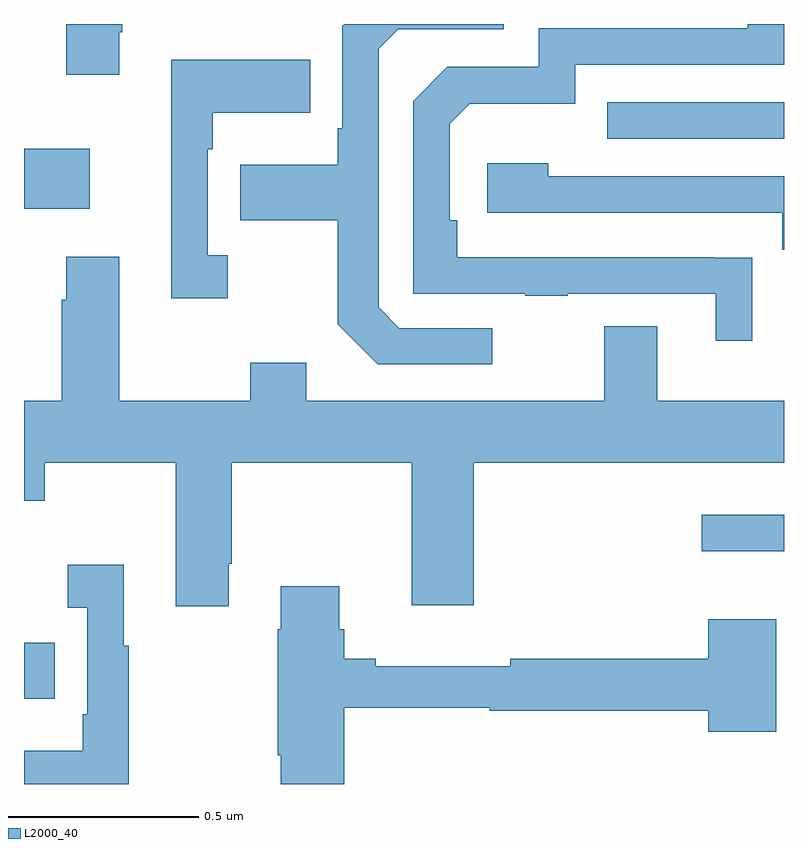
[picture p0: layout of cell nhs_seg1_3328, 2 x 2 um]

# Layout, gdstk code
import gdstk
lib = gdstk.Library(unit=1e-6, precision=1e-09)
def R(c, l, rs):  # rectangles x0, y0, x1, y1
    for r in rs: c.add(gdstk.rectangle(r[:2], r[2:], *l))
def P(c, l, *ps):  # polygons
    for p in ps: c.add(gdstk.Polygon(p, *l))
L2000_40 = (2000, 40)

nhs_seg1_3328 = lib.new_cell('nhs_seg1_3328')
R(nhs_seg1_3328, L2000_40, [(152,572.423,152.081,572.571), (153.783,572.811,154,572.908), (152,573.713,152.173,573.871), (153.535,573.897,154,573.993)])
P(nhs_seg1_3328, L2000_40, [(152.251,574.177),(152.259,574.177),(152.259,574.199),(152.111,574.199),(152.111,574.065),(152.251,574.065)],
  [(153.232,573.399),(152.988,573.399),(152.934,573.453),(152.934,574.134),(152.985,574.185),(153.262,574.185),(153.262,574.199),(152.843,574.199),(152.838,574.194),(152.838,573.925),(152.826,573.925),(152.826,573.829),(152.569,573.829),(152.569,573.682),(152.826,573.682),(152.826,573.409),(152.931,573.303),(153.232,573.303)],
  [(153.917,573.584),(153.815,573.584),(153.815,573.585),(153.14,573.585),(153.14,573.682),(153.12,573.682),(153.12,573.936),(153.173,573.989),(153.45,573.989),(153.45,574.092),(154,574.092),(154,574.199),(153.905,574.199),(153.905,574.188),(153.354,574.188),(153.354,574.086),(153.114,574.086),(153.024,573.996),(153.024,573.489),(153.319,573.489),(153.319,573.484),(153.431,573.484),(153.431,573.489),(153.821,573.489),(153.821,573.366),(153.917,573.366)],
  [(152.536,573.59),(152.484,573.59),(152.484,573.869),(152.497,573.869),(152.497,573.965),(152.753,573.965),(152.753,574.105),(152.387,574.105),(152.387,573.477),(152.536,573.477)],
  [(154,573.798),(153.38,573.798),(153.38,573.832),(153.219,573.832),(153.219,573.702),(153.995,573.702),(153.995,573.605),(154,573.605)],
  [(152.539,572.779),(152.547,572.779),(152.547,573.044),(153.02,573.044),(153.02,572.67),(153.184,572.67),(153.184,573.044),(154,573.044),(154,573.208),(153.667,573.208),(153.667,573.403),(153.527,573.403),(153.527,573.208),(152.743,573.208),(152.743,573.307),(152.596,573.307),(152.596,573.208),(152.251,573.208),(152.251,573.586),(152.111,573.586),(152.111,573.473),(152.099,573.473),(152.099,573.208),(152,573.208),(152,572.945),(152.055,572.945),(152.055,573.044),(152.399,573.044),(152.399,572.667),(152.539,572.667)],
  [(152.275,572.563),(152.263,572.563),(152.263,572.776),(152.115,572.776),(152.115,572.663),(152.166,572.663),(152.166,572.383),(152.154,572.383),(152.154,572.287),(152,572.287),(152,572.199),(152.275,572.199)],
  [(152.843,572.4),(153.226,572.4),(153.226,572.392),(153.8,572.392),(153.8,572.336),(153.979,572.336),(153.979,572.632),(153.8,572.632),(153.8,572.528),(153.28,572.528),(153.28,572.509),(152.926,572.509),(152.926,572.528),(152.843,572.528),(152.843,572.606),(152.83,572.606),(152.83,572.719),(152.675,572.719),(152.675,572.606),(152.668,572.606),(152.668,572.275),(152.675,572.275),(152.675,572.199),(152.843,572.199)])

lib.write_gds('nhs_seg1_3328.gds')
